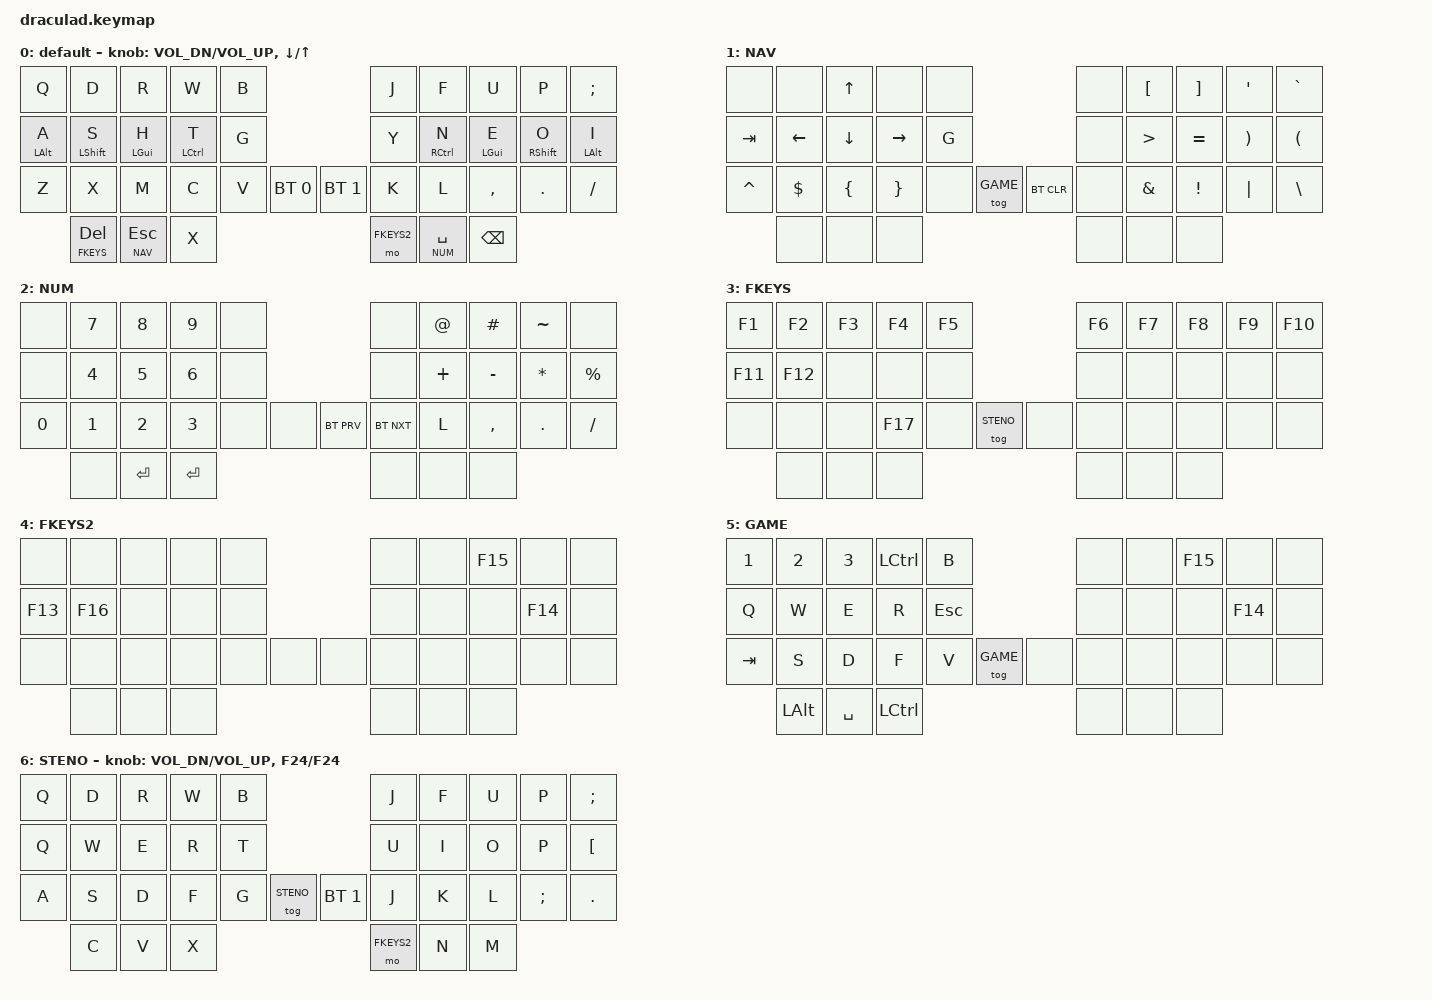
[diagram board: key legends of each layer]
/*
 * Copyright (c) 2020 The ZMK Contributors
 *
 * SPDX-License-Identifier: MIT
 */

#include <behaviors.dtsi>
#include <dt-bindings/zmk/keys.h>
#include <dt-bindings/zmk/bt.h>

// Layers
#define DEFAULT 0
#define NAV 1
#define NUM 2
#define FKEYS 3
#define FKEYS2 4
#define GAME 5
#define STENO 6

/{ 
    behaviors { 
     hm: homerow_mods {     
        compatible = "zmk,behavior-hold-tap";
        label = "HOMEROW_MODS";
        #binding-cells = <2>;
        tapping-term-ms = <250>;
        quick-tap-ms = <0>;
        flavor = "tap-preferred";
        bindings = <&kp>, <&kp>;
      };
     hplt: hold_preferred-lt {     
        compatible = "zmk,behavior-hold-tap";
        label = "HOLD_PREFERRED_LT";
        #binding-cells = <2>;
        tapping-term-ms = <195>;
        quick-tap-ms = <0>;
        flavor = "hold-preferred";
        bindings = <&mo>, <&kp>;
      };
     hms: homerow_mod_shift {     
        compatible = "zmk,behavior-hold-tap";
        label = "HOMEROW_MOD_SHIFT";
        #binding-cells = <2>;
        tapping-term-ms = <170>;
        quick-tap-ms = <0>;
        flavor = "balanced";
        bindings = <&kp>, <&kp>;
      };
    };
    keymap {
        compatible = "zmk,keymap";
        default {
          bindings = <
            &kp Q       &kp D       &kp R       &kp W       &kp B                              &kp J       &kp F       &kp U       &kp P       &kp SEMI 
            &hm LALT A  &hms LSHFT S &hm LGUI H  &hm LCTRL T &kp G                             &kp Y       &hm RCTRL N &hm LGUI E  &hms RSHFT O &hm LALT I
            &kp Z       &kp X       &kp M       &kp C       &kp V  &bt BT_SEL 0  &bt BT_SEL 1  &kp K       &kp L       &kp COMMA   &kp DOT     &kp FSLH
                              &hplt FKEYS DEL &hplt NAV ESC &kp X                              &mo FKEYS2  &lt NUM SPACE &kp BSPC    
            >;
          sensor-bindings = <&inc_dec_kp C_VOL_DN C_VOL_UP &inc_dec_kp DOWN UP>;
        };

        NAV {
           bindings = <
            &none       &none       &kp UP      &none       &none                              &none       &kp LBKT    &kp RBKT    &kp SQT     &kp GRAVE 
            &kp TAB     &kp LEFT    &kp DOWN    &kp RIGHT   &kp G                              &none       &kp GT      &kp EQUAL   &kp RPAR    &kp LPAR  
            &kp CARET   &kp DLLR    &kp LBRC    &kp RBRC    &none     &tog GAME   &bt BT_CLR   &none       &kp AMPS    &kp EXCL    &kp PIPE    &kp BSLH
                                    &none       &none       &none                              &none       &none       &none
            >;
        };

        NUM {
           bindings = <
            &none       &kp N7   &kp N8   &kp N9   &none                              &none       &kp AT      &kp HASH    &kp TILDE   &none    
            &none       &kp N4   &kp N5   &kp N6   &none                              &none       &kp PLUS    &kp MINUS   &kp STAR    &kp PRCNT  
            &kp N0   &kp N1   &kp N2   &kp N3   &none     &none          &bt BT_PRV   &bt BT_NXT       &kp L       &kp COMMA   &kp DOT     &kp FSLH
                                    &none       &kp RET       &kp RET                            &none       &none       &none
            >;
        };

        FKEYS {
           bindings = <
            &kp F1      &kp F2      &kp F3      &kp F4      &kp F5                             &kp F6      &kp F7      &kp F8      &kp F9      &kp F10   
            &kp F11     &kp F12     &none       &none       &none                              &none       &none       &none       &none       &none     
            &none       &none       &none       &kp F17     &none     &tog STENO     &none     &none       &none       &none       &none       &none   
                                    &none       &none       &none                              &none       &none       &none
            >;
        };

        FKEYS2 {
           bindings = <
            &none       &none       &none       &none       &none                              &none       &none       &kp F15     &none       &none    
            &kp F13     &kp F16     &none       &none       &none                              &none       &none       &none       &kp F14     &none     
            &none       &none       &none       &none       &none     &none          &none     &none       &none       &none       &none       &none   
                                    &none       &none       &none                              &none       &none       &none
            >;
        };

        GAME {
           bindings = <
            &kp N1      &kp N2      &kp N3      &kp LCTRL   &kp B                              &none       &none       &kp F15     &none       &none    
            &kp Q       &kp W       &kp E       &kp R       &kp ESC                              &none       &none       &none       &kp F14     &none     
            &kp TAB     &kp S       &kp D       &kp F       &kp V     &tog GAME          &none     &none       &none       &none       &none       &none   
                                    &kp LALT    &kp SPACE   &kp LCTRL                           &none       &none       &none
            >;
        };

        STENO {
          bindings = <
            &kp Q       &kp D       &kp R       &kp W       &kp B                              &kp J       &kp F       &kp U       &kp P       &kp SEMI 
            &kp Q       &kp W       &kp E       &kp R       &kp T                              &kp U       &kp I       &kp O       &kp P       &kp LBKT
            &kp A       &kp S       &kp D       &kp F       &kp G  &tog STENO    &bt BT_SEL 1  &kp J       &kp K       &kp L       &kp SEMI    &kp DOT      
                                    &kp C       &kp V       &kp X                              &mo FKEYS2  &kp N       &kp M
            >;
          sensor-bindings = <&inc_dec_kp C_VOL_DN C_VOL_UP &inc_dec_kp F24 F24>;
        };

    };
};

o	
